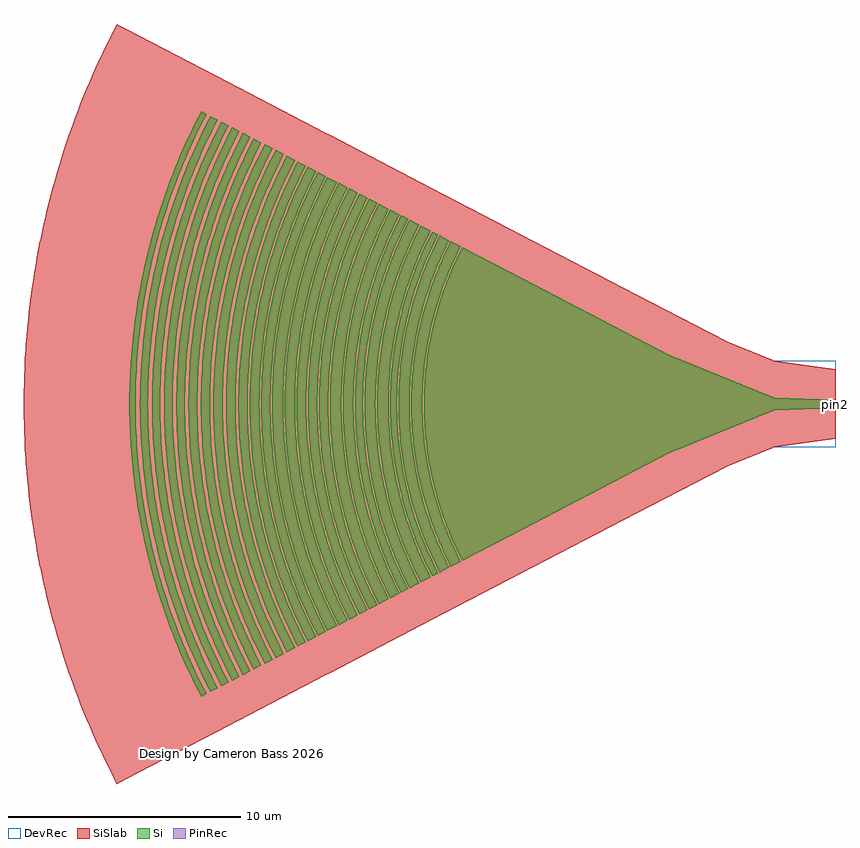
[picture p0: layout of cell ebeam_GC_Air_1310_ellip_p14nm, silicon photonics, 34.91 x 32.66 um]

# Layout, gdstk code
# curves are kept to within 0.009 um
import gdstk
lib = gdstk.Library(unit=1e-6, precision=1e-09)
def P(c, l, *ps):  # polygons
    for p in ps: c.add(gdstk.Polygon(p, *l))
Si = (1, 0)
PinRec = (1, 10)
SiSlab = (2, 0)
DevRec = (68, 0)

ebeam_gc_air_1310_ellip_ = lib.new_cell('ebeam_GC_Air_1310_ellip_p14nm')
P(ebeam_gc_air_1310_ellip_, Si, [(-16.054,-6.735),(-16.423,-5.975),(-16.797,-5.058),(-17.026,-4.388),(-17.292,-3.434),(-17.468,-2.603),(-17.595,-1.765),(-17.673,-0.919),(-17.701,-0.071),(-17.673,0.919),(-17.595,1.765),(-17.468,2.604),(-17.292,3.434),(-17.026,4.388),(-16.797,5.058),(-16.423,5.975),(-16.054,6.735),(-7.072,2.064),(-3.179,0.477),(-2.84,0.35),(-2.674,0.27),(0,0.175),(0,-0.175),(-2.673,-0.27),(-2.84,-0.35),(-3.18,-0.477),(-7.145,-2.095)],
  [(-16.546,-6.99),(-16.926,-6.205),(-17.263,-5.39),(-17.552,-4.557),(-17.793,-3.709),(-17.984,-2.849),(-18.124,-1.978),(-18.223,-0.955),(-18.253,-0.073),(-18.232,0.808),(-18.142,1.833),(-18.011,2.704),(-17.828,3.566),(-17.552,4.557),(-17.263,5.39),(-16.926,6.205),(-16.546,6.991),(-16.118,6.768),(-16.488,6.004),(-16.815,5.216),(-17.095,4.411),(-17.327,3.59),(-17.538,2.617),(-17.666,1.773),(-17.753,0.782),(-17.773,0.071),(-17.753,-0.782),(-17.666,-1.773),(-17.538,-2.617),(-17.361,-3.452),(-17.137,-4.275),(-16.865,-5.083),(-16.488,-6.004),(-16.118,-6.768)],
  [(-17.027,-7.241),(-17.42,-6.429),(-17.769,-5.585),(-18.068,-4.722),(-18.318,-3.843),(-18.515,-2.952),(-18.66,-2.05),(-18.753,-1.141),(-18.78,-0.685),(-18.794,-0.076),(-18.772,0.837),(-18.697,1.748),(-18.64,2.201),(-18.543,2.801),(-18.354,3.695),(-18.068,4.722),(-17.769,5.585),(-17.42,6.429),(-17.027,7.241),(-16.609,7.024),(-16.868,6.503),(-17.051,6.099),(-17.382,5.278),(-17.665,4.438),(-17.898,3.584),(-18.081,2.717),(-18.214,1.841),(-18.295,0.959),(-18.325,0.074),(-18.304,-0.811),(-18.214,-1.841),(-18.081,-2.718),(-17.898,-3.584),(-17.665,-4.438),(-17.382,-5.278),(-17.051,-6.099),(-16.868,-6.503),(-16.609,-7.024)],
  [(-17.347,-7.408),(-17.749,-6.577),(-18.106,-5.714),(-18.412,-4.831),(-18.668,-3.932),(-18.87,-3.02),(-19.038,-1.943),(-19.124,-1.012),(-19.155,-0.078),(-19.133,0.857),(-19.038,1.943),(-18.898,2.866),(-18.705,3.781),(-18.458,4.682),(-18.161,5.568),(-17.993,6.004),(-17.749,6.578),(-17.347,7.408),(-17.091,7.274),(-17.547,6.318),(-17.781,5.754),(-17.942,5.324),(-18.091,4.89),(-18.269,4.304),(-18.525,3.265),(-18.689,2.362),(-18.785,1.603),(-18.844,0.841),(-18.866,0.077),(-18.851,-0.688),(-18.8,-1.451),(-18.689,-2.362),(-18.556,-3.115),(-18.459,-3.564),(-18.269,-4.304),(-17.993,-5.179),(-17.781,-5.753),(-17.547,-6.318),(-17.091,-7.274)],
  [(-17.843,-7.666),(-18.054,-7.245),(-18.323,-6.66),(-18.684,-5.763),(-18.992,-4.846),(-19.247,-3.913),(-19.447,-2.967),(-19.591,-2.011),(-19.68,-1.047),(-19.713,-0.08),(-19.689,0.887),(-19.61,1.851),(-19.475,2.808),(-19.354,3.442),(-19.247,3.913),(-18.992,4.846),(-18.684,5.763),(-18.51,6.214),(-18.258,6.808),(-17.843,7.666),(-17.411,7.441),(-17.814,6.607),(-18.173,5.74),(-18.482,4.853),(-18.737,3.95),(-18.969,2.879),(-19.109,1.951),(-19.173,1.329),(-19.205,0.86),(-19.227,0.078),(-19.205,-0.86),(-19.173,-1.329),(-19.109,-1.951),(-18.969,-2.879),(-18.774,-3.798),(-18.528,-4.704),(-18.228,-5.593),(-17.878,-6.464),(-17.616,-7.033),(-17.411,-7.441)],
  [(-18.323,-7.916),(-18.752,-7.029),(-19.012,-6.416),(-19.191,-5.951),(-19.51,-5.004),(-19.773,-4.04),(-19.979,-3.064),(-20.129,-2.076),(-20.22,-1.082),(-20.254,-0.083),(-20.23,0.916),(-20.148,1.911),(-20.036,2.735),(-19.949,3.228),(-19.812,3.879),(-19.649,4.525),(-19.51,5.004),(-19.191,5.951),(-19.012,6.416),(-18.752,7.03),(-18.323,7.916),(-17.908,7.7),(-18.325,6.837),(-18.517,6.392),(-18.753,5.788),(-19.063,4.868),(-19.318,3.931),(-19.519,2.979),(-19.664,2.019),(-19.754,1.052),(-19.787,0.081),(-19.763,-0.89),(-19.683,-1.858),(-19.547,-2.821),(-19.458,-3.298),(-19.318,-3.93),(-19.063,-4.867),(-18.753,-5.788),(-18.517,-6.391),(-18.325,-6.837),(-17.908,-7.7)],
  [(-18.685,-8.104),(-19.124,-7.196),(-19.515,-6.251),(-19.85,-5.285),(-20.043,-4.632),(-20.17,-4.136),(-20.381,-3.137),(-20.534,-2.125),(-20.628,-1.107),(-20.662,-0.085),(-20.638,0.937),(-20.554,1.957),(-20.411,2.968),(-20.283,3.638),(-20.17,4.136),(-20.043,4.632),(-19.85,5.285),(-19.515,6.251),(-19.124,7.196),(-18.685,8.104),(-18.387,7.95),(-18.678,7.363),(-18.952,6.752),(-19.141,6.289),(-19.373,5.661),(-19.531,5.185),(-19.719,4.543),(-19.882,3.895),(-19.988,3.405),(-20.133,2.582),(-20.238,1.752),(-20.303,0.919),(-20.327,0.084),(-20.303,-0.919),(-20.238,-1.752),(-20.133,-2.582),(-19.988,-3.405),(-19.882,-3.895),(-19.719,-4.543),(-19.531,-5.185),(-19.373,-5.661),(-19.141,-6.288),(-18.952,-6.752),(-18.678,-7.363),(-18.387,-7.949)],
  [(-19.143,-8.343),(-19.595,-7.409),(-19.87,-6.762),(-20.059,-6.272),(-20.394,-5.274),(-20.672,-4.258),(-20.889,-3.229),(-21.047,-2.188),(-21.143,-1.14),(-21.179,-0.088),(-21.169,0.614),(-21.143,1.14),(-21.047,2.188),(-20.889,3.228),(-20.672,4.258),(-20.394,5.274),(-20.059,6.272),(-19.666,7.249),(-19.373,7.886),(-19.143,8.343),(-18.75,8.138),(-19.191,7.226),(-19.459,6.596),(-19.643,6.117),(-19.971,5.144),(-20.241,4.154),(-20.453,3.149),(-20.607,2.134),(-20.701,1.112),(-20.736,0.086),(-20.711,-0.941),(-20.627,-1.964),(-20.483,-2.981),(-20.389,-3.485),(-20.241,-4.154),(-19.971,-5.144),(-19.643,-6.117),(-19.26,-7.069),(-19.048,-7.537),(-18.75,-8.138)],
  [(-19.642,-8.603),(-20.106,-7.642),(-20.521,-6.639),(-20.876,-5.613),(-21.173,-4.568),(-21.407,-3.509),(-21.58,-2.437),(-21.69,-1.356),(-21.721,-0.815),(-21.739,-0.09),(-21.713,0.995),(-21.623,2.078),(-21.472,3.152),(-21.336,3.863),(-21.216,4.393),(-20.93,5.44),(-20.706,6.129),(-20.521,6.639),(-20.106,7.642),(-19.642,8.603),(-19.208,8.377),(-19.661,7.438),(-20.066,6.462),(-20.246,5.965),(-20.465,5.296),(-20.7,4.447),(-20.928,3.415),(-21.097,2.372),(-21.175,1.672),(-21.216,1.144),(-21.252,0.088),(-21.247,-0.441),(-21.216,-1.144),(-21.119,-2.196),(-20.961,-3.241),(-20.742,-4.276),(-20.465,-5.295),(-20.303,-5.799),(-20.066,-6.462),(-19.661,-7.438),(-19.208,-8.377)],
  [(-20.057,-8.819),(-20.534,-7.832),(-20.959,-6.804),(-21.324,-5.752),(-21.628,-4.681),(-21.868,-3.596),(-22.045,-2.497),(-22.158,-1.39),(-22.19,-0.835),(-22.208,-0.093),(-22.181,1.02),(-22.09,2.129),(-22.02,2.681),(-21.902,3.413),(-21.672,4.502),(-21.533,5.041),(-21.324,5.752),(-20.959,6.804),(-20.534,7.832),(-20.057,8.819),(-19.71,8.638),(-20.176,7.672),(-20.593,6.665),(-20.951,5.636),(-21.247,4.587),(-21.483,3.522),(-21.577,2.986),(-21.679,2.266),(-21.779,1.18),(-21.816,0.091),(-21.79,-0.999),(-21.753,-1.543),(-21.679,-2.265),(-21.516,-3.343),(-21.29,-4.41),(-21.156,-4.938),(-21.004,-5.462),(-20.657,-6.495),(-20.25,-7.505),(-19.946,-8.166),(-19.71,-8.638)],
  [(-20.477,-9.038),(-20.967,-8.025),(-21.403,-6.971),(-21.776,-5.894),(-22.088,-4.797),(-22.219,-4.242),(-22.369,-3.498),(-22.539,-2.37),(-22.644,-1.235),(-22.683,-0.095),(-22.655,1.045),(-22.561,2.182),(-22.49,2.747),(-22.369,3.498),(-22.133,4.613),(-21.991,5.165),(-21.776,5.894),(-21.403,6.971),(-20.967,8.025),(-20.477,9.038),(-20.122,8.853),(-20.601,7.861),(-21.028,6.83),(-21.394,5.775),(-21.604,5.06),(-21.743,4.519),(-21.974,3.426),(-22.141,2.322),(-22.243,1.209),(-22.281,0.093),(-22.254,-1.023),(-22.2,-1.767),(-22.141,-2.321),(-21.974,-3.426),(-21.743,-4.519),(-21.554,-5.239),(-21.394,-5.775),(-21.028,-6.829),(-20.601,-7.861),(-20.122,-8.853)],
  [(-20.912,-9.264),(-21.415,-8.223),(-21.861,-7.144),(-22.061,-6.595),(-22.244,-6.04),(-22.564,-4.916),(-22.698,-4.347),(-22.852,-3.584),(-23.027,-2.429),(-23.134,-1.265),(-23.173,-0.097),(-23.168,0.487),(-23.134,1.265),(-23.027,2.429),(-22.852,3.585),(-22.61,4.727),(-22.465,5.293),(-22.302,5.854),(-21.93,6.962),(-21.494,8.046),(-21.168,8.753),(-20.912,9.264),(-20.546,9.073),(-20.879,8.401),(-21.115,7.88),(-21.543,6.818),(-21.908,5.734),(-22.209,4.63),(-22.446,3.51),(-22.617,2.379),(-22.722,1.239),(-22.761,0.096),(-22.75,-0.667),(-22.722,-1.239),(-22.617,-2.378),(-22.446,-3.51),(-22.209,-4.63),(-21.908,-5.734),(-21.543,-6.818),(-21.265,-7.529),(-21.038,-8.054),(-20.546,-9.073)],
  [(-21.363,-9.499),(-21.712,-8.796),(-21.959,-8.25),(-22.406,-7.139),(-22.788,-6.003),(-22.955,-5.428),(-23.104,-4.847),(-23.352,-3.675),(-23.531,-2.491),(-23.641,-1.297),(-23.67,-0.699),(-23.681,-0.1),(-23.676,0.499),(-23.641,1.298),(-23.531,2.491),(-23.352,3.675),(-23.104,4.847),(-22.955,5.428),(-22.788,6.003),(-22.406,7.139),(-22.191,7.698),(-21.959,8.251),(-21.712,8.796),(-21.363,9.499),(-20.976,9.297),(-21.481,8.253),(-21.93,7.17),(-22.315,6.062),(-22.483,5.5),(-22.68,4.744),(-22.923,3.596),(-23.099,2.437),(-23.206,1.27),(-23.246,0.098),(-23.241,-0.489),(-23.218,-1.074),(-23.161,-1.855),(-23.099,-2.437),(-22.923,-3.597),(-22.68,-4.744),(-22.483,-5.5),(-22.315,-6.062),(-21.93,-7.169),(-21.481,-8.253),(-20.976,-9.297)],
  [(-21.851,-9.752),(-22.119,-9.218),(-22.378,-8.66),(-22.622,-8.095),(-22.848,-7.523),(-23.252,-6.361),(-23.588,-5.177),(-23.773,-4.378),(-23.891,-3.774),(-23.992,-3.167),(-24.075,-2.558),(-24.188,-1.332),(-24.218,-0.717),(-24.229,-0.102),(-24.2,1.128),(-24.099,2.355),(-23.992,3.167),(-23.891,3.774),(-23.773,4.378),(-23.637,4.978),(-23.484,5.575),(-23.312,6.165),(-23.125,6.751),(-22.92,7.332),(-22.622,8.095),(-22.378,8.661),(-21.851,9.753),(-21.427,9.532),(-21.944,8.462),(-22.404,7.352),(-22.799,6.216),(-23.126,5.06),(-23.265,4.474),(-23.386,3.885),(-23.578,2.698),(-23.7,1.502),(-23.735,0.901),(-23.754,0.1),(-23.725,-1.102),(-23.667,-1.902),(-23.603,-2.499),(-23.423,-3.688),(-23.174,-4.865),(-22.858,-6.025),(-22.475,-7.164),(-22.025,-8.279),(-21.777,-8.827),(-21.427,-9.532)],
  [(-22.265,-9.968),(-22.539,-9.421),(-22.804,-8.851),(-23.053,-8.273),(-23.285,-7.689),(-23.567,-6.9),(-23.759,-6.301),(-24.091,-5.088),(-24.35,-3.858),(-24.453,-3.237),(-24.538,-2.614),(-24.654,-1.362),(-24.684,-0.734),(-24.696,-0.105),(-24.666,1.153),(-24.563,2.406),(-24.484,3.03),(-24.387,3.651),(-24.272,4.27),(-24.091,5.088),(-23.934,5.697),(-23.759,6.301),(-23.567,6.9),(-23.285,7.689),(-23.053,8.274),(-22.804,8.852),(-22.265,9.968),(-21.915,9.786),(-22.272,9.064),(-22.527,8.502),(-22.842,7.742),(-23.059,7.163),(-23.259,6.58),(-23.498,5.792),(-23.657,5.196),(-23.843,4.393),(-23.962,3.787),(-24.063,3.178),(-24.192,2.158),(-24.272,1.131),(-24.302,0.103),(-24.282,-0.925),(-24.212,-1.953),(-24.093,-2.975),(-23.884,-4.191),(-23.706,-4.996),(-23.498,-5.791),(-23.259,-6.579),(-23.059,-7.163),(-22.766,-7.933),(-22.527,-8.501),(-22.272,-9.064),(-21.915,-9.786)],
  [(-22.699,-10.194),(-22.981,-9.633),(-23.252,-9.05),(-23.507,-8.459),(-23.744,-7.862),(-23.963,-7.258),(-24.165,-6.647),(-24.408,-5.825),(-24.568,-5.202),(-24.71,-4.575),(-24.833,-3.945),(-24.939,-3.31),(-25.026,-2.673),(-25.094,-2.033),(-25.144,-1.392),(-25.175,-0.751),(-25.187,-0.107),(-25.181,0.536),(-25.156,1.179),(-25.113,1.82),(-25.051,2.46),(-24.97,3.098),(-24.871,3.733),(-24.71,4.575),(-24.568,5.202),(-24.408,5.825),(-24.228,6.443),(-23.819,7.662),(-23.588,8.261),(-23.339,8.855),(-22.981,9.633),(-22.699,10.194),(-22.332,10.003),(-22.698,9.264),(-22.959,8.689),(-23.281,7.912),(-23.502,7.321),(-23.771,6.524),(-23.951,5.919),(-24.114,5.309),(-24.304,4.49),(-24.496,3.457),(-24.639,2.414),(-24.73,1.366),(-24.761,0.736),(-24.773,0.105),(-24.753,-0.946),(-24.716,-1.576),(-24.661,-2.205),(-24.529,-3.248),(-24.346,-4.284),(-24.213,-4.901),(-24.008,-5.716),(-23.771,-6.524),(-23.502,-7.321),(-23.281,-7.912),(-22.959,-8.689),(-22.698,-9.264),(-22.332,-10.003)],
  [(-23.131,-10.419),(-23.422,-9.84),(-23.699,-9.245),(-23.959,-8.641),(-24.202,-8.031),(-24.426,-7.414),(-24.633,-6.79),(-24.992,-5.526),(-25.143,-4.888),(-25.276,-4.245),(-25.39,-3.597),(-25.485,-2.948),(-25.561,-2.295),(-25.633,-1.422),(-25.665,-0.766),(-25.677,-0.109),(-25.671,0.547),(-25.646,1.204),(-25.601,1.859),(-25.538,2.513),(-25.455,3.165),(-25.316,4.029),(-25.189,4.674),(-25.044,5.314),(-24.88,5.951),(-24.697,6.581),(-24.497,7.207),(-24.279,7.827),(-24.042,8.439),(-23.788,9.045),(-23.517,9.643),(-23.131,10.419),(-22.78,10.237),(-23.156,9.476),(-23.509,8.691),(-23.753,8.094),(-23.979,7.489),(-24.254,6.674),(-24.439,6.055),(-24.657,5.223),(-24.8,4.593),(-24.997,3.536),(-25.09,2.897),(-25.165,2.256),(-25.248,1.183),(-25.28,0.108),(-25.259,-0.968),(-25.165,-2.256),(-24.997,-3.536),(-24.8,-4.593),(-24.657,-5.223),(-24.439,-6.055),(-24.254,-6.674),(-23.979,-7.489),(-23.753,-8.094),(-23.423,-8.888),(-23.156,-9.476),(-22.78,-10.236)],
  [(-23.6,-10.664),(-23.901,-10.065),(-24.185,-9.457),(-24.451,-8.839),(-24.699,-8.215),(-24.929,-7.584),(-25.14,-6.946),(-25.333,-6.302),(-25.508,-5.653),(-25.663,-4.999),(-25.798,-4.342),(-25.95,-3.458),(-26.041,-2.793),(-26.112,-2.124),(-26.164,-1.455),(-26.197,-0.783),(-26.21,-0.112),(-26.203,0.56),(-26.177,1.232),(-26.132,1.902),(-26.067,2.571),(-25.982,3.237),(-25.878,3.901),(-25.71,4.781),(-25.561,5.436),(-25.394,6.087),(-25.206,6.732),(-25.001,7.372),(-24.778,8.006),(-24.536,8.632),(-24.276,9.252),(-23.998,9.864),(-23.6,10.664),(-23.238,10.475),(-23.531,9.891),(-23.899,9.091),(-24.155,8.483),(-24.468,7.66),(-24.682,7.036),(-24.939,6.193),(-25.162,5.342),(-25.308,4.698),(-25.51,3.616),(-25.659,2.525),(-25.722,1.869),(-25.767,1.21),(-25.799,0.11),(-25.778,-0.99),(-25.74,-1.649),(-25.682,-2.307),(-25.544,-3.399),(-25.435,-4.05),(-25.308,-4.698),(-25.162,-5.342),(-24.939,-6.193),(-24.682,-7.035),(-24.468,-7.659),(-24.155,-8.483),(-23.899,-9.091),(-23.531,-9.891),(-23.238,-10.475)],
  [(-24.083,-10.915),(-24.394,-10.297),(-24.684,-9.674),(-24.957,-9.042),(-25.211,-8.404),(-25.446,-7.759),(-25.73,-6.887),(-25.922,-6.227),(-26.093,-5.561),(-26.245,-4.891),(-26.378,-4.217),(-26.491,-3.538),(-26.584,-2.857),(-26.657,-2.173),(-26.71,-1.488),(-26.744,-0.801),(-26.757,-0.114),(-26.75,0.573),(-26.724,1.26),(-26.677,1.945),(-26.584,2.858),(-26.491,3.538),(-26.378,4.216),(-26.245,4.891),(-26.093,5.561),(-25.922,6.227),(-25.73,6.887),(-25.446,7.759),(-25.211,8.404),(-24.957,9.043),(-24.684,9.674),(-24.394,10.297),(-24.083,10.915),(-23.726,10.729),(-24.029,10.125),(-24.406,9.306),(-24.752,8.474),(-24.989,7.841),(-25.277,6.987),(-25.471,6.339),(-25.7,5.468),(-25.849,4.809),(-25.98,4.145),(-26.091,3.479),(-26.233,2.362),(-26.32,1.238),(-26.353,0.113),(-26.331,-1.013),(-26.291,-1.688),(-26.233,-2.362),(-26.091,-3.479),(-25.895,-4.588),(-25.752,-5.249),(-25.532,-6.122),(-25.277,-6.987),(-24.989,-7.841),(-24.752,-8.474),(-24.406,-9.306),(-24.029,-10.125),(-23.726,-10.729)],
  [(-24.553,-11.16),(-24.873,-10.525),(-25.17,-9.888),(-25.449,-9.242),(-25.708,-8.59),(-25.949,-7.93),(-26.17,-7.263),(-26.435,-6.365),(-26.611,-5.684),(-26.766,-4.999),(-26.902,-4.309),(-27.017,-3.616),(-27.112,-2.921),(-27.187,-2.221),(-27.242,-1.521),(-27.276,-0.819),(-27.289,-0.117),(-27.276,0.819),(-27.242,1.522),(-27.187,2.222),(-27.112,2.921),(-27.017,3.616),(-26.902,4.309),(-26.766,4.999),(-26.611,5.684),(-26.435,6.365),(-26.17,7.263),(-25.949,7.93),(-25.708,8.59),(-25.449,9.243),(-25.17,9.888),(-24.873,10.525),(-24.553,11.16),(-24.207,10.98),(-24.62,10.149),(-24.907,9.519),(-25.175,8.882),(-25.503,8.02),(-25.798,7.147),(-25.996,6.485),(-26.23,5.594),(-26.383,4.919),(-26.595,3.787),(-26.751,2.644),(-26.852,1.497),(-26.885,0.806),(-26.898,0.115),(-26.892,-0.576),(-26.865,-1.267),(-26.775,-2.416),(-26.695,-3.102),(-26.595,-3.787),(-26.383,-4.919),(-26.175,-5.816),(-25.996,-6.484),(-25.798,-7.147),(-25.503,-8.02),(-25.175,-8.882),(-24.907,-9.519),(-24.62,-10.149),(-24.207,-10.98)],
  [(-25.026,-11.406),(-25.354,-10.755),(-25.658,-10.105),(-25.942,-9.445),(-26.208,-8.778),(-26.453,-8.104),(-26.679,-7.422),(-26.886,-6.734),(-27.073,-6.04),(-27.238,-5.342),(-27.384,-4.639),(-27.508,-3.932),(-27.613,-3.222),(-27.696,-2.508),(-27.759,-1.793),(-27.81,-0.837),(-27.824,-0.12),(-27.817,0.598),(-27.789,1.316),(-27.74,2.032),(-27.671,2.747),(-27.58,3.459),(-27.428,4.403),(-27.289,5.109),(-27.13,5.808),(-26.951,6.504),(-26.75,7.194),(-26.531,7.877),(-26.208,8.778),(-25.942,9.445),(-25.658,10.105),(-25.354,10.755),(-25.026,11.406),(-24.687,11.23),(-25.009,10.59),(-25.404,9.733),(-25.678,9.082),(-26.014,8.201),(-26.243,7.533),(-26.518,6.631),(-26.701,5.948),(-26.914,5.03),(-27.051,4.336),(-27.167,3.639),(-27.315,2.471),(-27.407,1.295),(-27.441,0.118),(-27.434,-0.589),(-27.407,-1.295),(-27.315,-2.47),(-27.167,-3.639),(-27.051,-4.336),(-26.914,-5.03),(-26.701,-5.948),(-26.518,-6.63),(-26.243,-7.533),(-26.014,-8.201),(-25.678,-9.082),(-25.404,-9.733),(-25.009,-10.59),(-24.687,-11.229)],
  [(-25.488,-11.646),(-25.823,-10.981),(-26.133,-10.317),(-26.423,-9.643),(-26.694,-8.962),(-26.945,-8.274),(-27.176,-7.578),(-27.387,-6.876),(-27.578,-6.167),(-27.799,-5.216),(-27.94,-4.497),(-28.061,-3.773),(-28.16,-3.047),(-28.238,-2.318),(-28.295,-1.587),(-28.33,-0.856),(-28.345,-0.122),(-28.33,0.855),(-28.295,1.587),(-28.238,2.318),(-28.16,3.047),(-28.061,3.773),(-27.94,4.496),(-27.799,5.216),(-27.636,5.93),(-27.453,6.641),(-27.249,7.344),(-27.025,8.042),(-26.694,8.963),(-26.423,9.643),(-26.133,10.317),(-25.823,10.981),(-25.488,11.646),(-25.161,11.476),(-25.595,10.604),(-25.894,9.946),(-26.264,9.057),(-26.518,8.38),(-26.826,7.468),(-27.033,6.776),(-27.278,5.845),(-27.438,5.14),(-27.659,3.957),(-27.764,3.241),(-27.848,2.524),(-27.941,1.324),(-27.976,0.121),(-27.953,-1.083),(-27.911,-1.804),(-27.848,-2.523),(-27.764,-3.241),(-27.659,-3.956),(-27.438,-5.139),(-27.278,-5.844),(-27.033,-6.775),(-26.826,-7.468),(-26.518,-8.38),(-26.264,-9.057),(-25.894,-9.946),(-25.595,-10.604),(-25.161,-11.476)],
  [(-25.953,-11.888),(-26.295,-11.209),(-26.612,-10.531),(-26.908,-9.844),(-27.185,-9.149),(-27.441,-8.446),(-27.677,-7.735),(-27.892,-7.019),(-28.087,-6.295),(-28.312,-5.324),(-28.457,-4.59),(-28.579,-3.851),(-28.681,-3.11),(-28.761,-2.366),(-28.819,-1.62),(-28.855,-0.872),(-28.869,-0.125),(-28.855,0.872),(-28.819,1.62),(-28.761,2.366),(-28.681,3.111),(-28.579,3.852),(-28.457,4.59),(-28.312,5.324),(-28.146,6.053),(-27.96,6.779),(-27.751,7.497),(-27.522,8.209),(-27.273,8.915),(-27.003,9.613),(-26.612,10.531),(-26.295,11.209),(-25.953,11.889),(-25.631,11.721),(-25.968,11.052),(-26.38,10.158),(-26.666,9.478),(-27.017,8.558),(-27.256,7.861),(-27.544,6.92),(-27.793,5.969),(-27.957,5.249),(-28.182,4.041),(-28.349,2.822),(-28.421,2.088),(-28.471,1.352),(-28.507,0.123),(-28.499,-0.615),(-28.471,-1.352),(-28.375,-2.578),(-28.289,-3.31),(-28.182,-4.04),(-27.957,-5.249),(-27.793,-5.969),(-27.544,-6.919),(-27.256,-7.861),(-27.017,-8.558),(-26.666,-9.478),(-26.38,-10.157),(-25.968,-11.051),(-25.631,-11.721)],
  [(-26.412,-12.127),(-26.761,-11.434),(-27.084,-10.743),(-27.386,-10.041),(-27.668,-9.332),(-27.93,-8.615),(-28.17,-7.89),(-28.389,-7.159),(-28.588,-6.422),(-28.818,-5.431),(-28.966,-4.682),(-29.091,-3.929),(-29.194,-3.173),(-29.276,-2.413),(-29.335,-1.653),(-29.372,-0.89),(-29.387,-0.127),(-29.379,0.636),(-29.35,1.399),(-29.298,2.16),(-29.224,2.921),(-29.128,3.677),(-28.966,4.682),(-28.818,5.431),(-28.649,6.175),(-28.458,6.915),(-28.246,7.648),(-28.012,8.374),(-27.758,9.094),(-27.483,9.806),(-27.084,10.743),(-26.761,11.434),(-26.412,12.127),(-26.1,11.965),(-26.444,11.282),(-26.763,10.599),(-27.062,9.908),(-27.429,8.973),(-27.759,8.025),(-27.983,7.305),(-28.247,6.336),(-28.421,5.604),(-28.574,4.866),(-28.705,4.125),(-28.875,2.881),(-28.985,1.631),(-29.021,0.878),(-29.036,0.126),(-29.028,-0.628),(-28.999,-1.38),(-28.902,-2.631),(-28.814,-3.379),(-28.705,-4.125),(-28.474,-5.358),(-28.247,-6.336),(-28.053,-7.063),(-27.836,-7.785),(-27.515,-8.736),(-27.25,-9.442),(-26.865,-10.369),(-26.553,-11.055),(-26.1,-11.965)],
  [(-26.882,-12.372),(-27.23,-11.679),(-27.56,-10.973),(-27.869,-10.257),(-28.248,-9.289),(-28.507,-8.555),(-28.745,-7.812),(-28.961,-7.063),(-29.157,-6.307),(-29.329,-5.547),(-29.479,-4.783),(-29.607,-4.013),(-29.713,-3.241),(-29.795,-2.465),(-29.856,-1.688),(-29.894,-0.909),(-29.909,-0.13),(-29.894,0.909),(-29.856,1.688),(-29.795,2.465),(-29.713,3.241),(-29.607,4.013),(-29.479,4.782),(-29.329,5.548),(-29.157,6.307),(-28.962,7.063),(-28.745,7.812),(-28.507,8.554),(-28.248,9.29),(-27.869,10.257),(-27.56,10.973),(-27.23,11.68),(-26.882,12.373),(-26.567,12.209),(-27.029,11.28),(-27.348,10.58),(-27.741,9.634),(-28.011,8.914),(-28.339,7.944),(-28.559,7.207),(-28.758,6.466),(-28.99,5.467),(-29.225,4.209),(-29.399,2.939),(-29.473,2.175),(-29.525,1.408),(-29.563,0.128),(-29.538,-1.152),(-29.493,-1.919),(-29.426,-2.685),(-29.265,-3.955),(-29.138,-4.714),(-28.99,-5.467),(-28.758,-6.465),(-28.559,-7.207),(-28.339,-7.944),(-28.011,-8.914),(-27.741,-9.634),(-27.348,-10.58),(-27.029,-11.28),(-26.567,-12.208)],
  [(-27.28,-12.58),(-27.642,-11.859),(-27.977,-11.142),(-28.29,-10.415),(-28.582,-9.679),(-28.839,-8.977),(-29.102,-8.184),(-29.329,-7.426),(-29.535,-6.661),(-29.717,-5.891),(-29.877,-5.116),(-30.015,-4.335),(-30.13,-3.553),(-30.247,-2.503),(-30.303,-1.795),(-30.347,-0.923),(-30.362,-0.132),(-30.354,0.659),(-30.324,1.451),(-30.27,2.241),(-30.163,3.291),(-30.056,4.075),(-29.926,4.857),(-29.773,5.633),(-29.598,6.405),(-29.401,7.172),(-29.18,7.932),(-28.939,8.686),(-28.675,9.433),(-28.39,10.171),(-27.977,11.143),(-27.642,11.86),(-27.28,12.58),(-27.046,12.458),(-27.509,11.524),(-27.834,10.809),(-28.235,9.843),(-28.511,9.107),(-28.845,8.116),(-29.071,7.363),(-29.273,6.606),(-29.454,5.842),(-29.613,5.072),(-29.749,4.3),(-29.926,3.003),(-30.041,1.7),(-30.079,0.915),(-30.094,0.131),(-30.069,-1.177),(-30.023,-1.961),(-29.954,-2.743),(-29.863,-3.522),(-29.749,-4.3),(-29.613,-5.072),(-29.454,-5.841),(-29.273,-6.606),(-29.071,-7.363),(-28.845,-8.116),(-28.511,-9.107),(-28.235,-9.843),(-27.834,-10.809),(-27.509,-11.524),(-27.046,-12.458)])
P(ebeam_gc_air_1310_ellip_, SiSlab, [(-30.904,-16.329),(-31.366,-15.41),(-31.801,-14.477),(-32.208,-13.533),(-32.588,-12.577),(-32.94,-11.61),(-33.264,-10.634),(-33.559,-9.648),(-33.825,-8.655),(-34.062,-7.654),(-34.27,-6.647),(-34.449,-5.634),(-34.598,-4.616),(-34.717,-3.594),(-34.807,-2.569),(-34.867,-1.543),(-34.9,-0.171),(-34.89,0.857),(-34.85,1.885),(-34.781,2.912),(-34.681,3.935),(-34.552,4.956),(-34.393,5.972),(-34.135,7.319),(-33.907,8.322),(-33.651,9.318),(-33.365,10.307),(-33.051,11.286),(-32.709,12.256),(-32.338,13.216),(-31.94,14.164),(-31.366,15.41),(-30.904,16.329),(-4.744,2.708),(-2.65,1.855),(0,1.5),(0,-1.5),(-2.65,-1.855),(-4.728,-2.7)])
P(ebeam_gc_air_1310_ellip_, DevRec, [(-30.904,-16.329),(-31.366,-15.41),(-31.801,-14.477),(-32.208,-13.533),(-32.588,-12.577),(-32.94,-11.61),(-33.264,-10.634),(-33.559,-9.648),(-33.825,-8.655),(-34.062,-7.654),(-34.27,-6.647),(-34.449,-5.634),(-34.598,-4.616),(-34.717,-3.594),(-34.807,-2.569),(-34.867,-1.543),(-34.9,-0.171),(-34.89,0.857),(-34.85,1.885),(-34.781,2.912),(-34.681,3.935),(-34.552,4.956),(-34.393,5.972),(-34.135,7.319),(-33.907,8.322),(-33.651,9.318),(-33.365,10.307),(-33.051,11.286),(-32.709,12.256),(-32.338,13.216),(-31.94,14.164),(-31.366,15.41),(-30.904,16.329),(-4.744,2.708),(-2.65,1.855),(0,1.855),(0,-1.855),(-2.65,-1.855),(-4.728,-2.7)])
ebeam_gc_air_1310_ellip_.add(gdstk.FlexPath([(-0.01,0),(0.01,0)], 0.35, ends="flush", simple_path=True, layer=1, datatype=10))  # PinRec
ebeam_gc_air_1310_ellip_.add(gdstk.Label('pin2', (0,0), layer=1, texttype=10))
ebeam_gc_air_1310_ellip_.add(gdstk.Label('Design by Cameron Bass 2026', (-25.94,-15.02), layer=10, texttype=0))

lib.write_gds('ebeam_GC_Air_1310_ellip_p14nm.gds')
